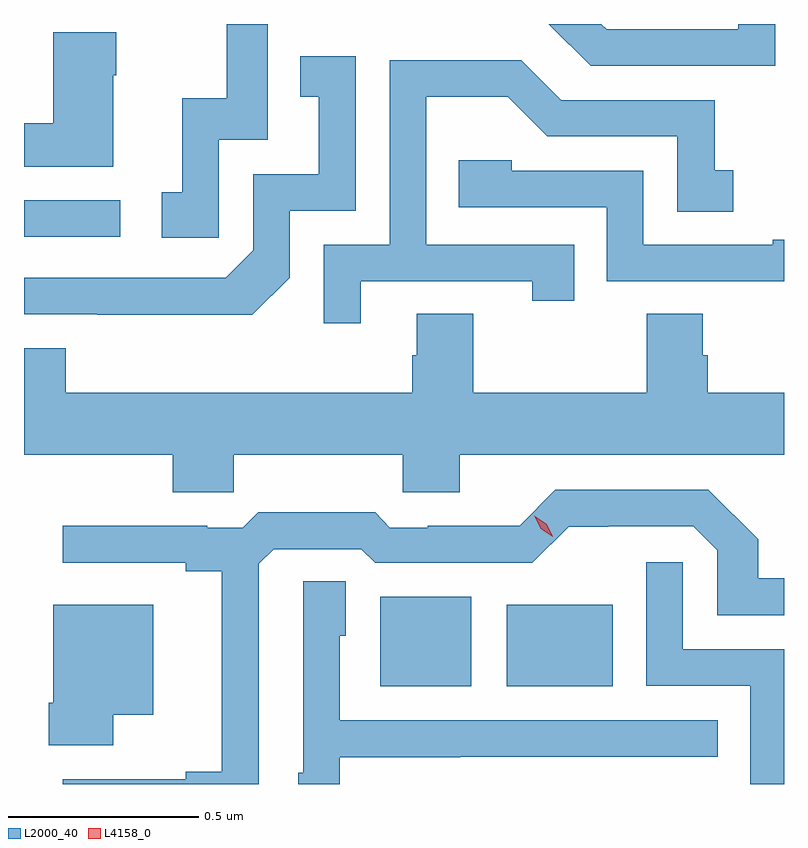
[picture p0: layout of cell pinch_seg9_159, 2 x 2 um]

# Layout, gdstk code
import gdstk
lib = gdstk.Library(unit=1e-6, precision=1e-09)
def R(c, l, rs):  # rectangles x0, y0, x1, y1
    for r in rs: c.add(gdstk.rectangle(r[:2], r[2:], *l))
def P(c, l, *ps):  # polygons
    for p in ps: c.add(gdstk.Polygon(p, *l))
L2000_40 = (2000, 40)
L4158_0 = (4158, 0)

pinch_seg9_159 = lib.new_cell('pinch_seg9_159')
R(pinch_seg9_159, L2000_40, [(713.213,1211.795,713.452,1212.031), (713.546,1211.795,713.824,1212.01), (712.275,1212.978,712.528,1213.074)])
P(pinch_seg9_159, L2000_40, [(714.252,1213.538),(714.155,1213.538),(714.155,1213.524),(713.808,1213.524),(713.794,1213.538),(713.656,1213.538),(713.766,1213.428),(714.252,1213.428)],
  [(712.788,1213.233),(712.917,1213.233),(712.917,1213.538),(712.809,1213.538),(712.809,1213.342),(712.691,1213.342),(712.691,1213.095),(712.638,1213.095),(712.638,1212.975),(712.788,1212.975)],
  [(712.51,1213.403),(712.518,1213.403),(712.518,1213.516),(712.352,1213.516),(712.352,1213.277),(712.275,1213.277),(712.275,1213.163),(712.51,1213.163)],
  [(712.974,1212.87),(712.974,1213.047),(713.148,1213.047),(713.148,1213.453),(713.002,1213.453),(713.002,1213.347),(713.051,1213.347),(713.051,1213.143),(712.878,1213.143),(712.878,1212.942),(712.806,1212.87),(712.275,1212.87),(712.275,1212.774),(712.468,1212.774),(712.468,1212.773),(712.876,1212.773)],
  [(713.161,1212.861),(713.612,1212.861),(713.612,1212.81),(713.723,1212.81),(713.723,1212.957),(713.334,1212.957),(713.334,1213.346),(713.548,1213.346),(713.652,1213.242),(713.994,1213.242),(713.994,1213.044),(714.142,1213.044),(714.142,1213.153),(714.093,1213.153),(714.093,1213.338),(713.689,1213.338),(713.584,1213.443),(713.238,1213.443),(713.238,1212.957),(713.064,1212.957),(713.064,1212.75),(713.161,1212.75)],
  [(714.275,1212.97),(714.245,1212.97),(714.245,1212.957),(713.904,1212.957),(713.904,1213.152),(713.559,1213.152),(713.559,1213.179),(713.419,1213.179),(713.419,1213.056),(713.808,1213.056),(713.808,1212.861),(714.275,1212.861)],
  [(712.827,1212.404),(713.272,1212.404),(713.272,1212.306),(713.422,1212.306),(713.422,1212.404),(714.275,1212.404),(714.275,1212.568),(714.074,1212.568),(714.074,1212.666),(714.061,1212.666),(714.061,1212.776),(713.914,1212.776),(713.914,1212.568),(713.457,1212.568),(713.457,1212.776),(713.309,1212.776),(713.309,1212.666),(713.297,1212.666),(713.297,1212.568),(712.385,1212.568),(712.385,1212.685),(712.275,1212.685),(712.275,1212.404),(712.667,1212.404),(712.667,1212.306),(712.827,1212.306)],
  [(712.893,1212.117),(712.932,1212.156),(713.163,1212.156),(713.199,1212.12),(713.613,1212.12),(713.708,1212.215),(713.812,1212.215),(713.812,1212.216),(714.036,1212.216),(714.099,1212.153),(714.099,1211.982),(714.275,1211.982),(714.275,1212.079),(714.207,1212.079),(714.207,1212.182),(714.076,1212.312),(713.673,1212.312),(713.579,1212.218),(713.338,1212.218),(713.338,1212.213),(713.238,1212.213),(713.199,1212.253),(712.891,1212.253),(712.851,1212.213),(712.757,1212.213),(712.757,1212.218),(712.377,1212.218),(712.377,1212.12),(712.7,1212.12),(712.7,1212.098),(712.796,1212.098),(712.796,1211.57),(712.7,1211.57),(712.7,1211.55),(712.377,1211.55),(712.377,1211.538),(712.893,1211.538)],
  [(714.275,1211.892),(714.009,1211.892),(714.009,1212.121),(713.913,1212.121),(713.913,1211.796),(714.186,1211.796),(714.186,1211.538),(714.275,1211.538)],
  [(713.106,1211.609),(713.423,1211.609),(713.423,1211.61),(714.101,1211.61),(714.101,1211.706),(713.106,1211.706),(713.106,1211.928),(713.122,1211.928),(713.122,1212.071),(713.01,1212.071),(713.01,1211.568),(712.997,1211.568),(712.997,1211.538),(713.106,1211.538)],
  [(712.51,1211.72),(712.615,1211.72),(712.615,1212.01),(712.352,1212.01),(712.352,1211.752),(712.34,1211.752),(712.34,1211.64),(712.51,1211.64)])
P(pinch_seg9_159, L4158_0, [(713.666,1212.189),(713.635,1212.21),(713.618,1212.244),(713.618,1212.244),(713.618,1212.244),(713.649,1212.223),(713.666,1212.19),(713.666,1212.189)])

lib.write_gds('pinch_seg9_159.gds')
